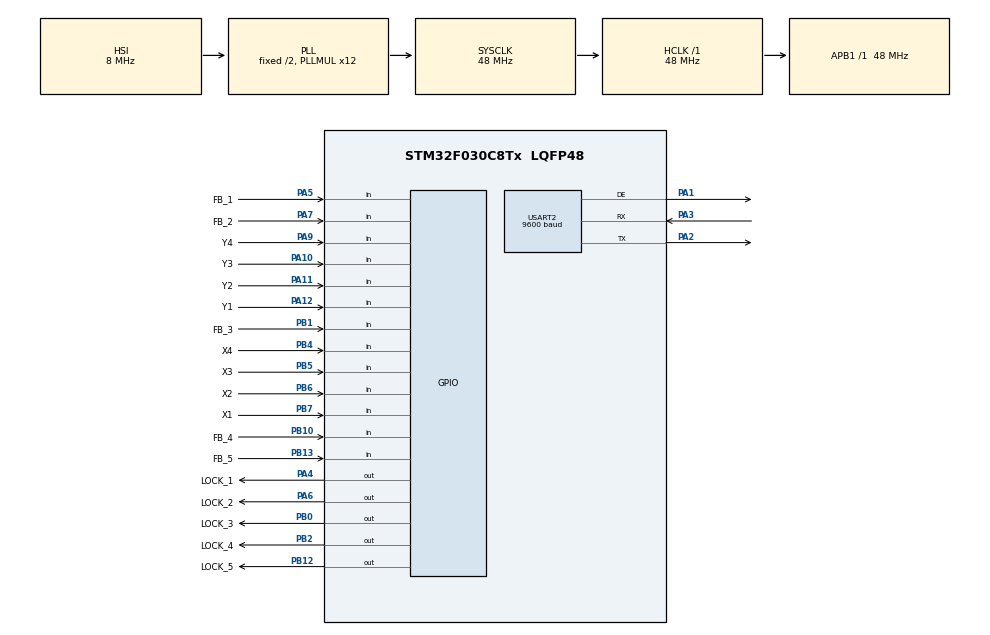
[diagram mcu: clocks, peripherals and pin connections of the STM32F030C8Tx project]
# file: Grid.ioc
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Mcu.Family=STM32F0
Mcu.Name=STM32F030C8Tx
Mcu.Package=LQFP48
NVIC.TIM1_BRK_UP_TRG_COM_IRQn=true\:0\:0\:false\:false\:true\:false\:true
NVIC.TIM3_IRQn=true\:3\:0\:true\:false\:true\:true\:true
NVIC.TimeBase=TIM1_BRK_UP_TRG_COM_IRQn
NVIC.TimeBaseIP=TIM1
NVIC.USART2_IRQn=true\:0\:0\:false\:false\:true\:true\:true
PA1.Mode=Hardware Flow Control (RS485)
PA1.Signal=USART2_DE
PA10.GPIO_Label=Y3
PA10.Signal=GPIO_Input
PA11.GPIO_Label=Y2
PA11.GPIO_Mode=GPIO_MODE_INPUT
PA11.GPIO_PuPd=GPIO_NOPULL
PA11.Signal=GPIO_Input
PA12.GPIO_Label=Y1
PA12.GPIO_Mode=GPIO_MODE_INPUT
PA12.GPIO_PuPd=GPIO_NOPULL
PA12.Signal=GPIO_Input
PA13.Mode=Serial_Wire
PA13.Signal=SYS_SWDIO
PA14.Mode=Serial_Wire
PA14.Signal=SYS_SWCLK
PA2.Mode=Asynchronous
PA2.Signal=USART2_TX
PA3.Mode=Asynchronous
PA3.Signal=USART2_RX
PA4.GPIO_Label=LOCK_1
PA4.GPIO_ModeDefaultOutputPP=GPIO_MODE_OUTPUT_PP
PA4.GPIO_PuPd=GPIO_NOPULL
PA4.GPIO_Speed=GPIO_SPEED_FREQ_LOW
PA4.PinState=GPIO_PIN_RESET
PA4.Signal=GPIO_Output
PA5.GPIO_Label=FB_1
PA5.GPIO_Mode=GPIO_MODE_INPUT
PA5.GPIO_PuPd=GPIO_PULLUP
PA5.Signal=GPIO_Input
PA6.GPIO_Label=LOCK_2
PA6.GPIO_ModeDefaultOutputPP=GPIO_MODE_OUTPUT_PP
PA6.GPIO_PuPd=GPIO_NOPULL
PA6.GPIO_Speed=GPIO_SPEED_FREQ_LOW
PA6.PinState=GPIO_PIN_RESET
PA6.Signal=GPIO_Output
PA7.GPIO_Label=FB_2
PA7.GPIO_Mode=GPIO_MODE_INPUT
PA7.GPIO_PuPd=GPIO_PULLUP
PA7.Signal=GPIO_Input
PA9.GPIO_Label=Y4
PA9.Signal=GPIO_Input
PB0.GPIO_Label=LOCK_3
PB0.GPIO_ModeDefaultOutputPP=GPIO_MODE_OUTPUT_PP
PB0.GPIO_PuPd=GPIO_NOPULL
PB0.GPIO_Speed=GPIO_SPEED_FREQ_LOW
PB0.PinState=GPIO_PIN_RESET
PB0.Signal=GPIO_Output
PB1.GPIO_Label=FB_3
PB1.GPIO_Mode=GPIO_MODE_INPUT
PB1.GPIO_PuPd=GPIO_PULLUP
PB1.Signal=GPIO_Input
PB10.GPIO_Label=FB_4
PB10.GPIO_Mode=GPIO_MODE_INPUT
PB10.GPIO_PuPd=GPIO_PULLUP
PB10.Signal=GPIO_Input
PB12.GPIO_Label=LOCK_5
PB12.GPIO_ModeDefaultOutputPP=GPIO_MODE_OUTPUT_PP
PB12.GPIO_PuPd=GPIO_NOPULL
PB12.GPIO_Speed=GPIO_SPEED_FREQ_LOW
PB12.PinState=GPIO_PIN_RESET
PB12.Signal=GPIO_Output
PB13.GPIO_Label=FB_5
PB13.GPIO_Mode=GPIO_MODE_INPUT
PB13.GPIO_PuPd=GPIO_PULLUP
PB13.Signal=GPIO_Input
PB2.GPIO_Label=LOCK_4
PB2.GPIO_ModeDefaultOutputPP=GPIO_MODE_OUTPUT_PP
PB2.GPIO_PuPd=GPIO_NOPULL
PB2.GPIO_Speed=GPIO_SPEED_FREQ_LOW
PB2.PinState=GPIO_PIN_RESET
PB2.Signal=GPIO_Output
PB4.GPIO_Label=X4
PB4.GPIO_Mode=GPIO_MODE_INPUT
PB4.GPIO_PuPd=GPIO_NOPULL
PB4.Signal=GPIO_Input
PB5.GPIO_Label=X3
PB5.GPIO_Mode=GPIO_MODE_INPUT
PB5.GPIO_PuPd=GPIO_NOPULL
PB5.Signal=GPIO_Input
PB6.GPIO_Label=X2
PB6.GPIO_Mode=GPIO_MODE_INPUT
PB6.GPIO_PuPd=GPIO_NOPULL
PB6.Signal=GPIO_Input
PB7.GPIO_Label=X1
PB7.GPIO_Mode=GPIO_MODE_INPUT
PB7.GPIO_PuPd=GPIO_NOPULL
PB7.Signal=GPIO_Input
ProjectManager.HeapSize=0x200
ProjectManager.StackSize=0x400
ProjectManager.TargetToolchain=MDK-ARM V5
RCC.AHBFreq_Value=48000000
RCC.APB1Freq_Value=48000000
RCC.APB1TimFreq_Value=48000000
RCC.HCLKFreq_Value=48000000
RCC.PLLMUL=RCC_PLL_MUL12
RCC.SYSCLKFreq_VALUE=48000000
RCC.SYSCLKSource=RCC_SYSCLKSOURCE_PLLCLK
TIM3.Period=100
TIM3.Prescaler=2400
USART2.BaudRate=9600
USART2.VirtualMode-Asynchronous=VM_ASYNC
USART2.VirtualMode-Hardware\ Flow\ Control\ (RS485)=VM_ASYNC
VP_SYS_VS_tim1.Mode=TIM1
VP_TIM3_VS_ClockSourceINT.Mode=Internal
board=custom

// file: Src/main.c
/* USER CODE BEGIN Header */
/**
  ******************************************************************************
  * @file           : main.c
  * @brief          : Main program body
  ******************************************************************************
  * @attention
  *
  * <h2><center>&copy; Copyright (c) 2019 STMicroelectronics.
  * All rights reserved.</center></h2>
  *
  * This software component is licensed by ST under Ultimate Liberty license
  * SLA0044, the "License"; You may not use this file except in compliance with
  * the License. You may obtain a copy of the License at:
  *                             www.st.com/SLA0044
  *
  ******************************************************************************
  */
/* USER CODE END Header */

#include "main.h"
#include "tim.h"
#include "usart.h"
#include "gpio.h"

/* USER CODE BEGIN Includes */
#include "mbproto.h"
#include "mb.h"
/* USER CODE END Includes */

/* USER CODE BEGIN PV */
	uint8_t Address = 0;
/* USER CODE END PV */

void SystemClock_Config(void);
/* USER CODE BEGIN PFP */

//char rxb[10] = "\0";
/* USER CODE END PFP */

int main(void)
{

  /* MCU Configuration--------------------------------------------------------*/

  /* Reset of all peripherals, Initializes the Flash interface and the Systick. */
  HAL_Init();

  /* Configure the system clock */
  SystemClock_Config();

  /* Initialize all configured peripherals */
  MX_GPIO_Init();
  MX_TIM3_Init();
  MX_USART2_UART_Init();

  /* Infinite loop */
  /* USER CODE BEGIN WHILE */

	Address =  RS485_Get_Address();
	HAL_Delay(1000);
	HAL_GPIO_WritePin(LOCK_5_GPIO_Port, LOCK_5_Pin, GPIO_PIN_SET);
	if(Address == 0)
	{
		while(1);
	}
	eMBInit(MB_RTU, Address, 3, 9600, MB_PAR_NONE);
	eMBEnable();
  while (1)
  {
    /* USER CODE END WHILE */

    /* USER CODE BEGIN 3 */
		eMBPoll();
		cmd_control();
		cmd_FeedBack();
  }
  /* USER CODE END 3 */
}

void SystemClock_Config(void)
{
  RCC_OscInitTypeDef RCC_OscInitStruct = {0};
  RCC_ClkInitTypeDef RCC_ClkInitStruct = {0};

  /** Initializes the CPU, AHB and APB busses clocks
  */
  RCC_OscInitStruct.OscillatorType = RCC_OSCILLATORTYPE_HSI;
  RCC_OscInitStruct.HSIState = RCC_HSI_ON;
  RCC_OscInitStruct.HSICalibrationValue = RCC_HSICALIBRATION_DEFAULT;
  RCC_OscInitStruct.PLL.PLLState = RCC_PLL_ON;
  RCC_OscInitStruct.PLL.PLLSource = RCC_PLLSOURCE_HSI;
  RCC_OscInitStruct.PLL.PLLMUL = RCC_PLL_MUL12;
  RCC_OscInitStruct.PLL.PREDIV = RCC_PREDIV_DIV1;
  if (HAL_RCC_OscConfig(&RCC_OscInitStruct) != HAL_OK)
  {
    Error_Handler();
  }
  /** Initializes the CPU, AHB and APB busses clocks
  */
  RCC_ClkInitStruct.ClockType = RCC_CLOCKTYPE_HCLK|RCC_CLOCKTYPE_SYSCLK
                              |RCC_CLOCKTYPE_PCLK1;
  RCC_ClkInitStruct.SYSCLKSource = RCC_SYSCLKSOURCE_PLLCLK;
  RCC_ClkInitStruct.AHBCLKDivider = RCC_SYSCLK_DIV1;
  RCC_ClkInitStruct.APB1CLKDivider = RCC_HCLK_DIV1;

  if (HAL_RCC_ClockConfig(&RCC_ClkInitStruct, FLASH_LATENCY_1) != HAL_OK)
  {
    Error_Handler();
  }
}

void HAL_TIM_PeriodElapsedCallback(TIM_HandleTypeDef *htim)
{
  if (htim->Instance == TIM1) {
    HAL_IncTick();
  }
  /* USER CODE BEGIN Callback 1 */
	if (htim->Instance == TIM3) {
    TIMERExpiredISR();
  }
  /* USER CODE END Callback 1 */
}

void Error_Handler(void)
{
}

/************************ (C) COPYRIGHT STMicroelectronics *****END OF FILE****/
